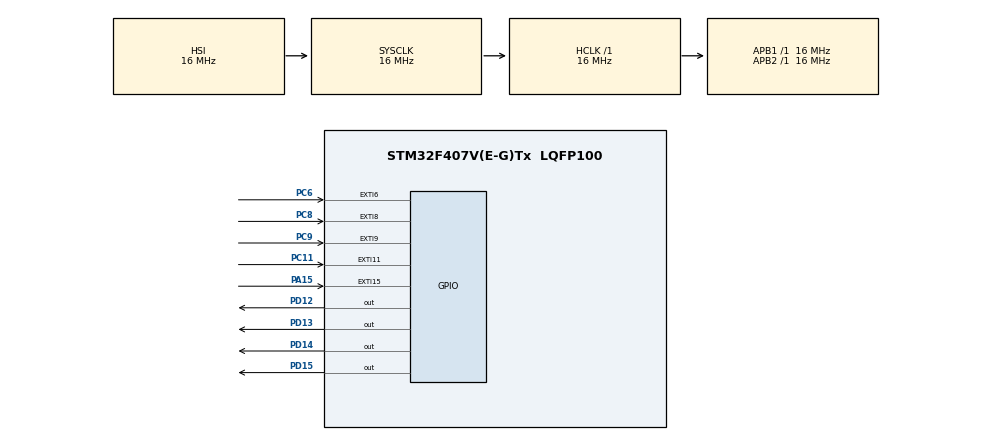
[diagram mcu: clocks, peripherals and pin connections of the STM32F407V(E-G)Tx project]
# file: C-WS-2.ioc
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Mcu.Family=STM32F4
Mcu.Name=STM32F407V(E-G)Tx
Mcu.Package=LQFP100
NVIC.EXTI15_10_IRQn=true\:0\:0\:false\:false\:true\:true\:true
NVIC.EXTI9_5_IRQn=true\:0\:0\:false\:false\:true\:true\:true
NVIC.PriorityGroup=NVIC_PRIORITYGROUP_4
PA15.Signal=GPXTI15
PC11.GPIO_ModeDefaultEXTI=GPIO_MODE_IT_FALLING
PC11.Signal=GPXTI11
PC6.GPIO_ModeDefaultEXTI=GPIO_MODE_IT_FALLING
PC6.Signal=GPXTI6
PC8.GPIO_ModeDefaultEXTI=GPIO_MODE_IT_FALLING
PC8.Signal=GPXTI8
PC9.GPIO_ModeDefaultEXTI=GPIO_MODE_IT_FALLING
PC9.Signal=GPXTI9
PD12.Signal=GPIO_Output
PD13.Signal=GPIO_Output
PD14.Signal=GPIO_Output
PD15.Signal=GPIO_Output
ProjectManager.HeapSize=0x200
ProjectManager.StackSize=0x400
ProjectManager.TargetToolchain=STM32CubeIDE
RCC.AHBFreq_Value=16000000
RCC.APB1Freq_Value=16000000
RCC.APB2Freq_Value=16000000
RCC.CortexFreq_Value=16000000
RCC.HSE_VALUE=25000000
RCC.HSI_VALUE=16000000
RCC.LSE_VALUE=32768
RCC.SYSCLKFreq_VALUE=16000000
RCC.VCOOutputFreq_Value=192000000
board=custom

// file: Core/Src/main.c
/* USER CODE BEGIN Header */
/**
  ******************************************************************************
  * @file           : main.c
  * @brief          : Main program body
  ******************************************************************************
  * @attention
  *
  * <h2><center>&copy; Copyright (c) 2021 STMicroelectronics.
  * All rights reserved.</center></h2>
  *
  * This software component is licensed by ST under BSD 3-Clause license,
  * the "License"; You may not use this file except in compliance with the
  * License. You may obtain a copy of the License at:
  *                        opensource.org/licenses/BSD-3-Clause
  *
  ******************************************************************************
  */
/* USER CODE END Header */
#include "main.h"

void SystemClock_Config(void);
static void MX_GPIO_Init(void);

/* USER CODE BEGIN 0 */
typedef enum {
	TYPE_1,
	TYPE_2,
	TYPE_3,
	TYPE_4
} BLINKING;

uint32_t blinkTime = 150;
BLINKING blink = TYPE_1;
unsigned char isactive = 1;
unsigned char counter = 0;  // overflow intentional

void resetState(void) {
	HAL_GPIO_WritePin(GPIOD, GPIO_PIN_12 | GPIO_PIN_14 | GPIO_PIN_13 | GPIO_PIN_15, GPIO_PIN_RESET);
	if(blink == TYPE_2) {
		HAL_GPIO_WritePin(GPIOD, GPIO_PIN_15 | GPIO_PIN_14, GPIO_PIN_SET);
	}
	counter = 0;
}

/* USER CODE END 0 */

int main(void)
{

  /* MCU Configuration--------------------------------------------------------*/

  /* Reset of all peripherals, Initializes the Flash interface and the Systick. */
  HAL_Init();

  /* Configure the system clock */
  SystemClock_Config();

  /* Initialize all configured peripherals */
  MX_GPIO_Init();

  /* Infinite loop */
  /* USER CODE BEGIN WHILE */
  while (1) {
	  if(isactive) {
		  switch(blink) {
		  case TYPE_1:
			  // Binary blinking
			  if(counter & 1) {
				  HAL_GPIO_TogglePin(GPIOD, GPIO_PIN_12);
				  if(counter & 2) {
					  HAL_GPIO_TogglePin(GPIOD, GPIO_PIN_13);
					  if(counter & 4) {
						  HAL_GPIO_TogglePin(GPIOD, GPIO_PIN_14);
						  if(counter & 8) {
							  HAL_GPIO_TogglePin(GPIOD, GPIO_PIN_15);
						  }
					  }
				  }
			  }
			  break;
		  case TYPE_2:
			  // Circle blinking
			  if(counter & 1) {
				  HAL_GPIO_TogglePin(GPIOD, GPIO_PIN_12);
				  HAL_GPIO_TogglePin(GPIOD, GPIO_PIN_14);
			  } else {
				  HAL_GPIO_TogglePin(GPIOD, GPIO_PIN_13);
				  HAL_GPIO_TogglePin(GPIOD, GPIO_PIN_15);
			  }
			  break;
		  case TYPE_3:
			  // Cross blinking
			  if(counter & 1) {
				  HAL_GPIO_WritePin(GPIOD, GPIO_PIN_12 | GPIO_PIN_14, GPIO_PIN_SET);
				  HAL_GPIO_WritePin(GPIOD, GPIO_PIN_13 | GPIO_PIN_15, GPIO_PIN_RESET);
			  } else {
				  HAL_GPIO_WritePin(GPIOD, GPIO_PIN_13 | GPIO_PIN_15, GPIO_PIN_SET);
				  HAL_GPIO_WritePin(GPIOD, GPIO_PIN_12 | GPIO_PIN_14, GPIO_PIN_RESET);
			  }
			  break;
		  case TYPE_4:
			  // Circle v2 blinking
			  switch(counter % 4) {
			  case 0:
				  HAL_GPIO_TogglePin(GPIOD, GPIO_PIN_12);
				  break;
			  case 1:
				  HAL_GPIO_TogglePin(GPIOD, GPIO_PIN_13);
				  break;
			  case 2:
				  HAL_GPIO_TogglePin(GPIOD, GPIO_PIN_14);
				  break;
			  case 3:
				  HAL_GPIO_TogglePin(GPIOD, GPIO_PIN_15);
				  break;
			  }
			  break;
		  }

		  HAL_Delay(blinkTime);
		  ++counter;
	  }
    /* USER CODE END WHILE */

  }
}

void SystemClock_Config(void)
{
  RCC_OscInitTypeDef RCC_OscInitStruct = {0};
  RCC_ClkInitTypeDef RCC_ClkInitStruct = {0};

  /** Configure the main internal regulator output voltage
  */
  __HAL_RCC_PWR_CLK_ENABLE();
  __HAL_PWR_VOLTAGESCALING_CONFIG(PWR_REGULATOR_VOLTAGE_SCALE1);
  /** Initializes the RCC Oscillators according to the specified parameters
  * in the RCC_OscInitTypeDef structure.
  */
  RCC_OscInitStruct.OscillatorType = RCC_OSCILLATORTYPE_HSI;
  RCC_OscInitStruct.HSIState = RCC_HSI_ON;
  RCC_OscInitStruct.HSICalibrationValue = RCC_HSICALIBRATION_DEFAULT;
  RCC_OscInitStruct.PLL.PLLState = RCC_PLL_NONE;
  if (HAL_RCC_OscConfig(&RCC_OscInitStruct) != HAL_OK)
  {
    Error_Handler();
  }
  /** Initializes the CPU, AHB and APB buses clocks
  */
  RCC_ClkInitStruct.ClockType = RCC_CLOCKTYPE_HCLK|RCC_CLOCKTYPE_SYSCLK
                              |RCC_CLOCKTYPE_PCLK1|RCC_CLOCKTYPE_PCLK2;
  RCC_ClkInitStruct.SYSCLKSource = RCC_SYSCLKSOURCE_HSI;
  RCC_ClkInitStruct.AHBCLKDivider = RCC_SYSCLK_DIV1;
  RCC_ClkInitStruct.APB1CLKDivider = RCC_HCLK_DIV1;
  RCC_ClkInitStruct.APB2CLKDivider = RCC_HCLK_DIV1;

  if (HAL_RCC_ClockConfig(&RCC_ClkInitStruct, FLASH_LATENCY_0) != HAL_OK)
  {
    Error_Handler();
  }
}

static void MX_GPIO_Init(void)
{
  GPIO_InitTypeDef GPIO_InitStruct = {0};

  /* GPIO Ports Clock Enable */
  __HAL_RCC_GPIOD_CLK_ENABLE();
  __HAL_RCC_GPIOC_CLK_ENABLE();
  __HAL_RCC_GPIOA_CLK_ENABLE();

  /*Configure GPIO pin Output Level */
  HAL_GPIO_WritePin(GPIOD, GPIO_PIN_12|GPIO_PIN_13|GPIO_PIN_14|GPIO_PIN_15, GPIO_PIN_RESET);

  /*Configure GPIO pins : PD12 PD13 PD14 PD15 */
  GPIO_InitStruct.Pin = GPIO_PIN_12|GPIO_PIN_13|GPIO_PIN_14|GPIO_PIN_15;
  GPIO_InitStruct.Mode = GPIO_MODE_OUTPUT_PP;
  GPIO_InitStruct.Pull = GPIO_NOPULL;
  GPIO_InitStruct.Speed = GPIO_SPEED_FREQ_LOW;
  HAL_GPIO_Init(GPIOD, &GPIO_InitStruct);

  /*Configure GPIO pins : PC6 PC8 PC9 PC11 */
  GPIO_InitStruct.Pin = GPIO_PIN_6|GPIO_PIN_8|GPIO_PIN_9|GPIO_PIN_11;
  GPIO_InitStruct.Mode = GPIO_MODE_IT_FALLING;
  GPIO_InitStruct.Pull = GPIO_NOPULL;
  HAL_GPIO_Init(GPIOC, &GPIO_InitStruct);

  /*Configure GPIO pin : PA15 */
  GPIO_InitStruct.Pin = GPIO_PIN_15;
  GPIO_InitStruct.Mode = GPIO_MODE_IT_RISING;
  GPIO_InitStruct.Pull = GPIO_NOPULL;
  HAL_GPIO_Init(GPIOA, &GPIO_InitStruct);

  /* EXTI interrupt init*/
  HAL_NVIC_SetPriority(EXTI9_5_IRQn, 0, 0);
  HAL_NVIC_EnableIRQ(EXTI9_5_IRQn);

  HAL_NVIC_SetPriority(EXTI15_10_IRQn, 0, 0);
  HAL_NVIC_EnableIRQ(EXTI15_10_IRQn);

}

/* USER CODE BEGIN 4 */
void HAL_GPIO_EXTI_Callback(uint16_t GPIO_Pin) {
	switch(GPIO_Pin) {
	// Previous Mode
	case GPIO_PIN_9:
		if(blink != TYPE_1) {
			blink--;
		} else {
			blink = TYPE_4;
		}
		resetState();
		break;
	// Next Mode
	case GPIO_PIN_11:
		if(blink != TYPE_4) {
			blink++;
		} else {
			blink = TYPE_1;
		}
		resetState();
		break;
	// Slower blink
	case GPIO_PIN_8:
		blinkTime += 50;
		break;
	// Faster blink
	case GPIO_PIN_6:
		if(blinkTime > 50) {
			blinkTime -= 50;
		}
		break;
	// Toggle state
	case GPIO_PIN_15:
		isactive ^= 1;
		break;
	default:
		HAL_GPIO_TogglePin(GPIOD, GPIO_PIN_12 | GPIO_PIN_13 | GPIO_PIN_14 | GPIO_PIN_15);
	}
}
/* USER CODE END 4 */

void Error_Handler(void)
{
  __disable_irq();
  while (1)
  {
  }
}

/************************ (C) COPYRIGHT STMicroelectronics *****END OF FILE****/
